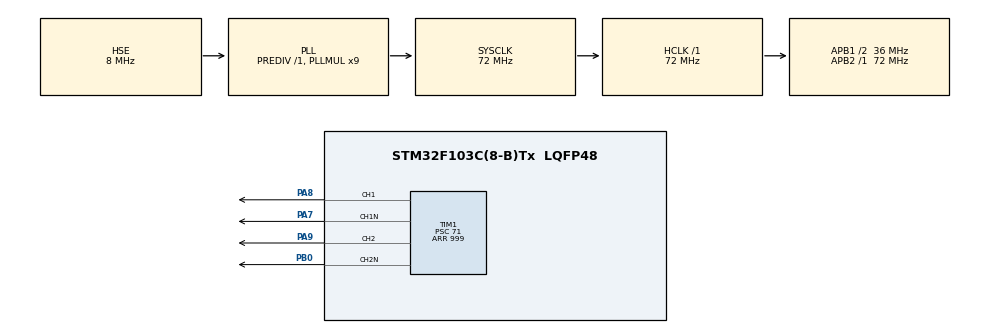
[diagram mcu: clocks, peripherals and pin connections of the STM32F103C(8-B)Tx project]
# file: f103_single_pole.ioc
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Mcu.Family=STM32F1
Mcu.Name=STM32F103C(8-B)Tx
Mcu.Package=LQFP48
NVIC.PriorityGroup=NVIC_PRIORITYGROUP_4
NVIC.TIM1_CC_IRQn=true\:0\:0\:false\:false\:true\:true\:true
PA13.Mode=Serial_Wire
PA13.Signal=SYS_JTMS-SWDIO
PA14.Mode=Serial_Wire
PA14.Signal=SYS_JTCK-SWCLK
PA7.Mode=PWM Generation1 CH1 CH1N
PA7.Signal=TIM1_CH1N
PA8.Signal=S_TIM1_CH1
PA9.Signal=S_TIM1_CH2
PB0.Mode=PWM Generation2 CH2 CH2N
PB0.Signal=TIM1_CH2N
PD0-OSC_IN.Mode=HSE-External-Oscillator
PD0-OSC_IN.Signal=RCC_OSC_IN
PD1-OSC_OUT.Mode=HSE-External-Oscillator
PD1-OSC_OUT.Signal=RCC_OSC_OUT
ProjectManager.HeapSize=0x200
ProjectManager.StackSize=0x400
ProjectManager.TargetToolchain=MDK-ARM V5.27
RCC.AHBFreq_Value=72000000
RCC.APB1CLKDivider=RCC_HCLK_DIV2
RCC.APB1Freq_Value=36000000
RCC.APB1TimFreq_Value=72000000
RCC.APB2Freq_Value=72000000
RCC.APB2TimFreq_Value=72000000
RCC.HCLKFreq_Value=72000000
RCC.PLLMUL=RCC_PLL_MUL9
RCC.PLLSourceVirtual=RCC_PLLSOURCE_HSE
RCC.SYSCLKFreq_VALUE=72000000
RCC.SYSCLKSource=RCC_SYSCLKSOURCE_PLLCLK
RCC.USBFreq_Value=72000000
SH.S_TIM1_CH1.0=TIM1_CH1,PWM Generation1 CH1 CH1N
SH.S_TIM1_CH2.0=TIM1_CH2,PWM Generation2 CH2 CH2N
TIM1.BreakState=TIM_BREAK_ENABLE
TIM1.Channel-PWM\ Generation1\ CH1\ CH1N=TIM_CHANNEL_1
TIM1.Channel-PWM\ Generation2\ CH2\ CH2N=TIM_CHANNEL_2
TIM1.DeadTime=100
TIM1.Period=999
TIM1.Prescaler=71
board=custom

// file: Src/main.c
/* USER CODE BEGIN Header */
/**
  ******************************************************************************
  * @file           : main.c
  * @brief          : Main program body
  ******************************************************************************
  * @attention
  *
  * <h2><center>&copy; Copyright (c) 2020 STMicroelectronics.
  * All rights reserved.</center></h2>
  *
  * This software component is licensed by ST under BSD 3-Clause license,
  * the "License"; You may not use this file except in compliance with the
  * License. You may obtain a copy of the License at:
  *                        opensource.org/licenses/BSD-3-Clause
  *
  ******************************************************************************
  */
/* USER CODE END Header */

#include "main.h"
#include "tim.h"
#include "gpio.h"

/* USER CODE BEGIN PV */
uint8_t i=0;
int D_D[10]={154,
451,
703,
886,
982,
982,
886,
703,
451,
154};
/* USER CODE END PV */

void SystemClock_Config(void);

int main(void)
{

  /* MCU Configuration--------------------------------------------------------*/

  /* Reset of all peripherals, Initializes the Flash interface and the Systick. */
  HAL_Init();

  /* Configure the system clock */
  SystemClock_Config();

  /* Initialize all configured peripherals */
  MX_GPIO_Init();
  MX_TIM1_Init();
  /* USER CODE BEGIN 2 */
	//打开channel1和channel2的正输出
	HAL_TIM_PWM_Start_IT(&htim1,TIM_CHANNEL_1);
	HAL_TIM_PWM_Start_IT(&htim1,TIM_CHANNEL_2);
	//打开channel1N和channel2N的负输出
	HAL_TIMEx_PWMN_Start_IT(&htim1,TIM_CHANNEL_1);
	HAL_TIMEx_PWMN_Start_IT(&htim1,TIM_CHANNEL_2);

  /* USER CODE END 2 */

  /* Infinite loop */
  while (1)
  {

  }
}

void SystemClock_Config(void)
{
  RCC_OscInitTypeDef RCC_OscInitStruct = {0};
  RCC_ClkInitTypeDef RCC_ClkInitStruct = {0};

  /** Initializes the CPU, AHB and APB busses clocks
  */
  RCC_OscInitStruct.OscillatorType = RCC_OSCILLATORTYPE_HSE;
  RCC_OscInitStruct.HSEState = RCC_HSE_ON;
  RCC_OscInitStruct.HSEPredivValue = RCC_HSE_PREDIV_DIV1;
  RCC_OscInitStruct.HSIState = RCC_HSI_ON;
  RCC_OscInitStruct.PLL.PLLState = RCC_PLL_ON;
  RCC_OscInitStruct.PLL.PLLSource = RCC_PLLSOURCE_HSE;
  RCC_OscInitStruct.PLL.PLLMUL = RCC_PLL_MUL9;
  if (HAL_RCC_OscConfig(&RCC_OscInitStruct) != HAL_OK)
  {
    Error_Handler();
  }
  /** Initializes the CPU, AHB and APB busses clocks
  */
  RCC_ClkInitStruct.ClockType = RCC_CLOCKTYPE_HCLK|RCC_CLOCKTYPE_SYSCLK
                              |RCC_CLOCKTYPE_PCLK1|RCC_CLOCKTYPE_PCLK2;
  RCC_ClkInitStruct.SYSCLKSource = RCC_SYSCLKSOURCE_PLLCLK;
  RCC_ClkInitStruct.AHBCLKDivider = RCC_SYSCLK_DIV1;
  RCC_ClkInitStruct.APB1CLKDivider = RCC_HCLK_DIV2;
  RCC_ClkInitStruct.APB2CLKDivider = RCC_HCLK_DIV1;

  if (HAL_RCC_ClockConfig(&RCC_ClkInitStruct, FLASH_LATENCY_2) != HAL_OK)
  {
    Error_Handler();
  }
}

/* USER CODE BEGIN 4 */
void HAL_TIM_PWM_PulseFinishedCallback(TIM_HandleTypeDef *htim)
{
	if(htim->Instance==htim1.Instance)
	{

		htim1.Instance->CCR1=D_D[i];
		htim1.Instance->CCR2=D_D[i];
		i++;
		if(i==9) i=0;

	}
}
/* USER CODE END 4 */

void Error_Handler(void)
{
}

/************************ (C) COPYRIGHT STMicroelectronics *****END OF FILE****/
